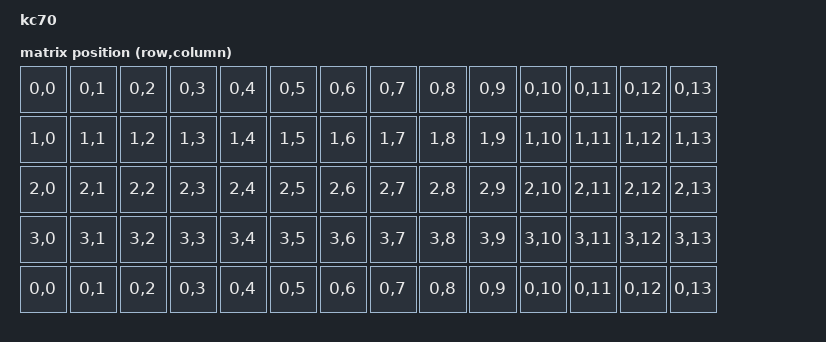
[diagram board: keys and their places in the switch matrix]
/dts-v1/;

#include <nordic/nrf52840_qiaa.dtsi>
#include <dt-bindings/zmk/matrix_transform.h>


/ {
    model = "kc70";
    compatible = "tufourn,kc70";

    chosen {
        zephyr,code-partition = &code_partition;
        zephyr,console = &cdc_acm_uart;
        zephyr,sram = &sram0;
        zephyr,flash = &flash0;
        zmk,kscan = &kscan0;
        zmk,battery = &vbatt;
        zmk,matrix_trnsform = &default_transform;
    };

    kscan0: kscan {
        compatible = "zmk,kscan-gpio-matrix";
    };

    vbatt: vbatt {
        compatible = "zmk,battery-nrf-vddh";
        label = "BATTERY";
    };

    default_transform: keymap_transform_0 {
        compatible = "zmk,matrix-transform";
        columns = <14>;
        rows = <5>;
        map = <
RC(0,0) RC(0,1) RC(0,2) RC(0,3) RC(0,4) RC(0,5) RC(0,6) RC(0,7) RC(0,8) RC(0,9) RC(0,10) RC(0,11) RC(0, 12) RC(0, 13)
RC(1,0) RC(1,1) RC(1,2) RC(1,3) RC(1,4) RC(1,5) RC(1,6) RC(1,7) RC(1,8) RC(1,9) RC(1,10) RC(1,11) RC(1, 12) RC(1, 13)
RC(2,0) RC(2,1) RC(2,2) RC(2,3) RC(2,4) RC(2,5) RC(2,6) RC(2,7) RC(2,8) RC(2,9) RC(2,10) RC(2,11) RC(2, 12) RC(2, 13)
RC(3,0) RC(3,1) RC(3,2) RC(3,3) RC(3,4) RC(3,5) RC(3,6) RC(3,7) RC(3,8) RC(3,9) RC(3,10) RC(3,11) RC(3, 12) RC(3, 13)
RC(0,0) RC(0,1) RC(0,2) RC(0,3) RC(0,4) RC(0,5) RC(0,6) RC(0,7) RC(0,8) RC(0,9) RC(0,10) RC(0,11) RC(0, 12) RC(0, 13)
        >;
    };
};

&adc {
    status = "okay";
};

&gpiote {
    status = "okay";
};

&gpio0 {
    status = "okay";
};

&gpio1 {
    status = "okay";
};

&usbd {
    status = "okay";
    cdc_acm_uart: cdc_acm_uart {
        compatible = "zephyr,cdc-acm-uart";
    };
};

&flash0 {
    // For more information, see
    // https://docs.zephyrproject.org/latest/reference/storage/flash_map/flash_map.html
    partitions {
        compatible = "fixed-partitions";
        #address-cells = <1>;
        #size-cells = <1>;

        code_partition: partition@1000 {
            label = "code_partition";
            reg = <0x00001000 0x000d3000>;
        };

        // The flash starting at 0x000d4000 and ending at
        // 0x000f3fff is reserved for use by the application.

        // Storage partition will be used by FCB/LittleFS/NVS if enabled.
        storage_partition: partition@d4000 {
            label = "storage";
            reg = <0x000d4000 0x00020000>;
        };

        boot_partition: partition@f4000 {
            label = "adafruit_boot";
            reg = <0x000f4000 0x0000c000>;
        };
    };
};
